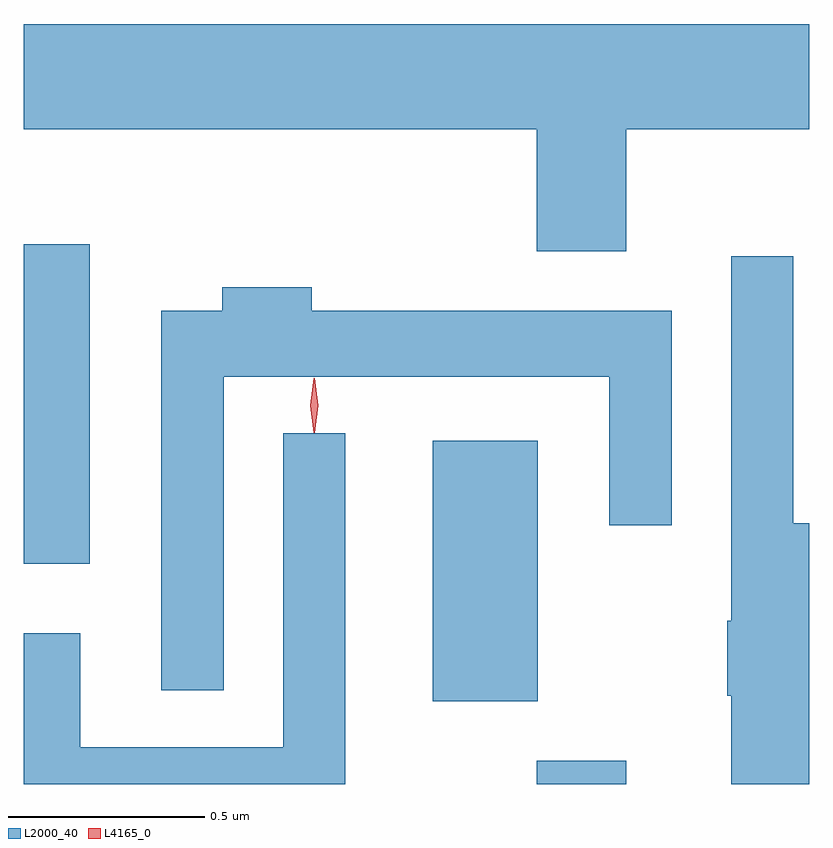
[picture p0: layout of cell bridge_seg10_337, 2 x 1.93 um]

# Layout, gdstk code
import gdstk
lib = gdstk.Library(unit=1e-6, precision=1e-09)
def R(c, l, rs):  # rectangles x0, y0, x1, y1
    for r in rs: c.add(gdstk.rectangle(r[:2], r[2:], *l))
def P(c, l, *ps):  # polygons
    for p in ps: c.add(gdstk.Polygon(p, *l))
L2000_40 = (2000, 40)
L4165_0 = (4165, 0)

bridge_seg10_337 = lib.new_cell('bridge_seg10_337')
R(bridge_seg10_337, L2000_40, [(1422.461,2176.63,1422.689,2176.689), (1422.196,2176.841,1422.464,2177.504), (1421.155,2177.191,1421.324,2178.004)])
P(bridge_seg10_337, L2000_40, [(1422.689,2178.296),(1423.155,2178.296),(1423.155,2178.564),(1421.155,2178.564),(1421.155,2178.296),(1422.461,2178.296),(1422.461,2177.986),(1422.689,2177.986)],
  [(1423.155,2177.294),(1423.114,2177.294),(1423.114,2177.973),(1422.956,2177.973),(1422.956,2177.045),(1422.946,2177.045),(1422.946,2176.855),(1422.956,2176.855),(1422.956,2176.63),(1423.155,2176.63)],
  [(1421.664,2177.666),(1422.646,2177.666),(1422.646,2177.288),(1422.804,2177.288),(1422.804,2177.834),(1421.889,2177.834),(1421.889,2177.894),(1421.661,2177.894),(1421.661,2177.834),(1421.506,2177.834),(1421.506,2176.868),(1421.664,2176.868)],
  [(1421.974,2177.523),(1421.816,2177.523),(1421.816,2176.724),(1421.299,2176.724),(1421.299,2177.014),(1421.155,2177.014),(1421.155,2176.63),(1421.974,2176.63)])
P(bridge_seg10_337, L4165_0, [(1421.895,2177.527),(1421.894,2177.528),(1421.885,2177.594),(1421.894,2177.66),(1421.895,2177.661),(1421.896,2177.66),(1421.905,2177.594),(1421.896,2177.528)],
  [(1421.894,2177.524),(1421.885,2177.593),(1421.894,2177.663),(1421.895,2177.663),(1421.896,2177.663),(1421.905,2177.593),(1421.896,2177.524),(1421.895,2177.524)])

lib.write_gds('bridge_seg10_337.gds')
